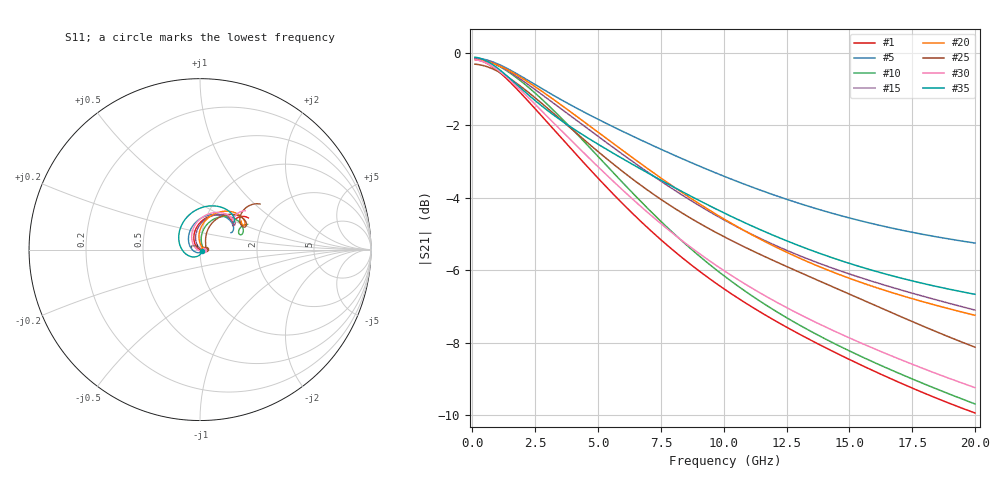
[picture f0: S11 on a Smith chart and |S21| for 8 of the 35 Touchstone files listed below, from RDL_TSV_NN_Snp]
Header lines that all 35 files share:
! Created with skrf 1.9.0 (http://scikit-rf.org).
# GHz S RI R 50.0
!freq ReS11 ImS11 ReS21 ImS21 ReS12 ImS12 ReS22 ImS22
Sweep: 100 MHz to 20 GHz
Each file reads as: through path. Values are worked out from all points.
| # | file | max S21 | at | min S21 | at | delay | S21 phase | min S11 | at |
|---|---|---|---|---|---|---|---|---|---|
| 1 | dut0.s2p | -0.17 dB | 100 MHz | -9.9 dB | 20 GHz | 33.2 ps | -147 deg at 10.1 GHz | -55.7 dB | 800 MHz |
| 2 | dut1.s2p | -0.18 dB | 100 MHz | -6.0 dB | 20 GHz | 18.7 ps | -84 deg at 10.1 GHz | -35.9 dB | 1 GHz |
| 3 | dut2.s2p | -0.14 dB | 100 MHz | -9.9 dB | 20 GHz | 30.6 ps | -138 deg at 10.1 GHz | -38.1 dB | 600 MHz |
| 4 | dut7.s2p | -0.17 dB | 100 MHz | -9.0 dB | 20 GHz | 27.9 ps | -126 deg at 10.1 GHz | -34.6 dB | 400 MHz |
| 5 | dut12.s2p | -0.13 dB | 100 MHz | -5.2 dB | 20 GHz | 18.9 ps | -83 deg at 10.1 GHz | -36.5 dB | 100 MHz |
| 6 | dut15.s2p | -0.35 dB | 100 MHz | -7.9 dB | 20 GHz | 23.5 ps | -107 deg at 10.1 GHz | -39.2 dB | 1.3 GHz |
| 7 | dut18.s2p | -0.14 dB | 100 MHz | -6.4 dB | 20 GHz | 19.2 ps | -87 deg at 10.1 GHz | -35.5 dB | 100 MHz |
| 8 | dut19.s2p | -0.12 dB | 100 MHz | -8.0 dB | 20 GHz | 29.1 ps | -126 deg at 10.1 GHz | -36.5 dB | 100 MHz |
| 9 | dut25.s2p | -0.16 dB | 100 MHz | -5.6 dB | 20 GHz | 18.4 ps | -82 deg at 10.1 GHz | -37.5 dB | 1 GHz |
| 10 | dut28.s2p | -0.15 dB | 100 MHz | -9.7 dB | 20 GHz | 29.5 ps | -134 deg at 10.1 GHz | -35.3 dB | 100 MHz |
| 11 | dut29.s2p | -0.17 dB | 100 MHz | -7.6 dB | 20 GHz | 24.4 ps | -110 deg at 10.1 GHz | -34.4 dB | 100 MHz |
| 12 | dut30.s2p | -0.17 dB | 100 MHz | -6.9 dB | 20 GHz | 21 ps | -97 deg at 10.1 GHz | -34.4 dB | 100 MHz |
| 13 | dut31.s2p | -0.14 dB | 100 MHz | -6.4 dB | 20 GHz | 19.6 ps | -88 deg at 10.1 GHz | -36.1 dB | 100 MHz |
| 14 | dut34.s2p | -0.13 dB | 100 MHz | -7.0 dB | 20 GHz | 25.7 ps | -113 deg at 10.1 GHz | -36.5 dB | 100 MHz |
| 15 | dut39.s2p | -0.14 dB | 100 MHz | -7.1 dB | 20 GHz | 25.7 ps | -113 deg at 10.1 GHz | -45.1 dB | 800 MHz |
| 16 | dut49.s2p | -0.23 dB | 100 MHz | -8.8 dB | 20 GHz | 25.1 ps | -115 deg at 10.1 GHz | -31.7 dB | 100 MHz |
| 17 | dut53.s2p | -0.09 dB | 100 MHz | -7.4 dB | 20 GHz | 26.9 ps | -117 deg at 10.1 GHz | -37.8 dB | 100 MHz |
| 18 | dut57.s2p | -0.15 dB | 100 MHz | -6.3 dB | 20 GHz | 21.9 ps | -95 deg at 10.1 GHz | -35.0 dB | 100 MHz |
| 19 | dut60.s2p | -0.27 dB | 100 MHz | -4.9 dB | 20 GHz | 20.7 ps | -87 deg at 10.1 GHz | -30.3 dB | 100 MHz |
| 20 | dut63.s2p | -0.18 dB | 100 MHz | -7.2 dB | 20 GHz | 22.6 ps | -102 deg at 10.1 GHz | -34.8 dB | 700 MHz |
| 21 | dut64.s2p | -0.20 dB | 100 MHz | -7.9 dB | 20 GHz | 29.1 ps | -127 deg at 10.1 GHz | -38.5 dB | 900 MHz |
| 22 | dut65.s2p | -0.10 dB | 100 MHz | -5.1 dB | 20 GHz | 19.9 ps | -86 deg at 10.1 GHz | -38.6 dB | 100 MHz |
| 23 | dut68.s2p | -0.19 dB | 100 MHz | -7.5 dB | 20 GHz | 25 ps | -111 deg at 10.1 GHz | -57.6 dB | 900 MHz |
| 24 | dut72.s2p | -0.12 dB | 100 MHz | -7.0 dB | 20 GHz | 27 ps | -117 deg at 10.1 GHz | -40.9 dB | 600 MHz |
| 25 | dut75.s2p | -0.31 dB | 100 MHz | -8.1 dB | 20 GHz | 31.3 ps | -132 deg at 10.1 GHz | -29.2 dB | 100 MHz |
| 26 | dut77.s2p | -0.31 dB | 100 MHz | -6.6 dB | 20 GHz | 22.7 ps | -100 deg at 10.1 GHz | -35.3 dB | 1.6 GHz |
| 27 | dut81.s2p | -0.13 dB | 100 MHz | -6.9 dB | 20 GHz | 24.1 ps | -107 deg at 10.1 GHz | -37.7 dB | 600 MHz |
| 28 | dut82.s2p | -0.07 dB | 100 MHz | -7.7 dB | 20 GHz | 31.5 ps | -134 deg at 10.1 GHz | -39.0 dB | 100 MHz |
| 29 | dut87.s2p | -0.15 dB | 100 MHz | -8.3 dB | 20 GHz | 26.7 ps | -120 deg at 10.1 GHz | -37.7 dB | 700 MHz |
| 30 | dut89.s2p | -0.19 dB | 100 MHz | -9.2 dB | 20 GHz | 30.1 ps | -134 deg at 10.1 GHz | -42.4 dB | 800 MHz |
| 31 | dut97.s2p | -0.15 dB | 100 MHz | -5.8 dB | 20 GHz | 24.3 ps | -104 deg at 10.1 GHz | -38.2 dB | 700 MHz |
| 32 | dut102.s2p | -0.11 dB | 100 MHz | -7.8 dB | 20 GHz | 24.8 ps | -111 deg at 10.1 GHz | -38.2 dB | 100 MHz |
| 33 | dut103.s2p | -0.21 dB | 100 MHz | -4.7 dB | 20 GHz | 17.6 ps | -76 deg at 10.1 GHz | -32.5 dB | 100 MHz |
| 34 | dut104.s2p | -0.17 dB | 100 MHz | -6.9 dB | 20 GHz | 19.6 ps | -91 deg at 10.1 GHz | -50.4 dB | 900 MHz |
| 35 | dut105.s2p | -0.12 dB | 100 MHz | -6.7 dB | 20 GHz | 19.7 ps | -89 deg at 10.1 GHz | -37.2 dB | 100 MHz |
